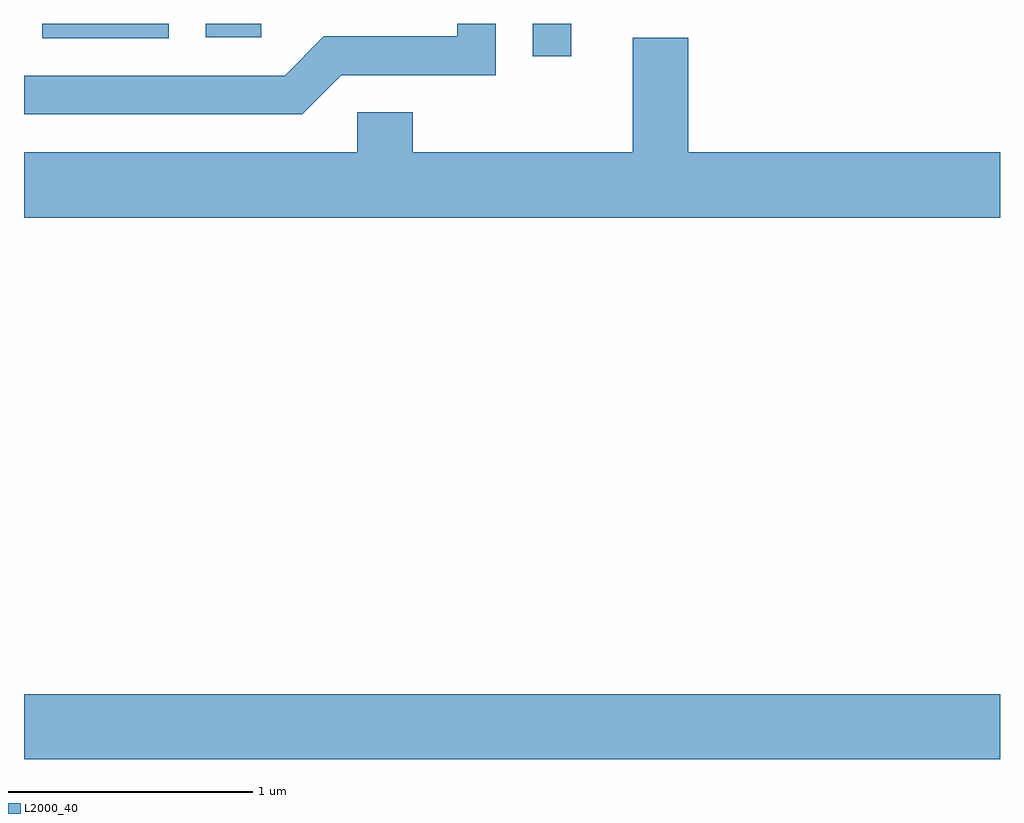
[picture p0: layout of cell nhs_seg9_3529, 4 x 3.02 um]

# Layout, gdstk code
import gdstk
lib = gdstk.Library(unit=1e-6, precision=1e-09)
def R(c, l, rs):  # rectangles x0, y0, x1, y1
    for r in rs: c.add(gdstk.rectangle(r[:2], r[2:], *l))
def P(c, l, *ps):  # polygons
    for p in ps: c.add(gdstk.Polygon(p, *l))
L2000_40 = (2000, 40)

nhs_seg9_3529 = lib.new_cell('nhs_seg9_3529')
R(nhs_seg9_3529, L2000_40, [(289.611,1947.416,293.611,1947.684), (291.696,1950.298,291.854,1950.432), (289.686,1950.371,290.204,1950.432), (290.356,1950.376,290.584,1950.432)])
P(nhs_seg9_3529, L2000_40, [(290.912,1950.221),(291.544,1950.221),(291.544,1950.432),(291.386,1950.432),(291.386,1950.379),(290.839,1950.379),(290.679,1950.219),(289.611,1950.219),(289.611,1950.061),(290.752,1950.061)],
  [(293.611,1949.904),(292.334,1949.904),(292.334,1950.374),(292.106,1950.374),(292.106,1949.904),(291.204,1949.904),(291.204,1950.069),(290.976,1950.069),(290.976,1949.904),(289.611,1949.904),(289.611,1949.636),(293.611,1949.636)])

lib.write_gds('nhs_seg9_3529.gds')
